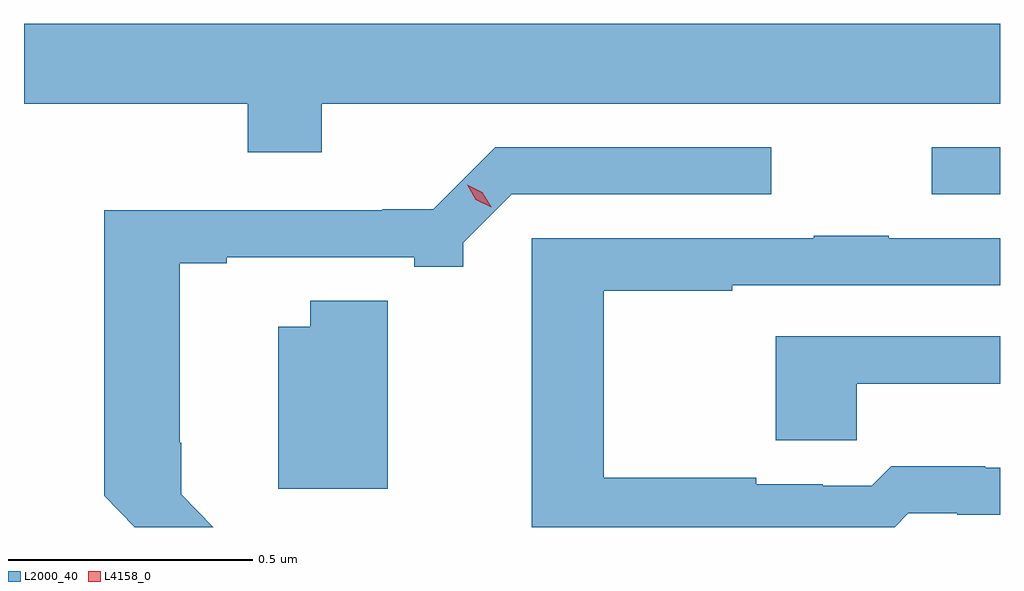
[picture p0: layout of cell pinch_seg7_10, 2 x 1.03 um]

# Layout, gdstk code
import gdstk
lib = gdstk.Library(unit=1e-6, precision=1e-09)
def R(c, l, rs):  # rectangles x0, y0, x1, y1
    for r in rs: c.add(gdstk.rectangle(r[:2], r[2:], *l))
def P(c, l, *ps):  # polygons
    for p in ps: c.add(gdstk.Polygon(p, *l))
L2000_40 = (2000, 40)
L4158_0 = (4158, 0)

pinch_seg7_10 = lib.new_cell('pinch_seg7_10')
R(pinch_seg7_10, L2000_40, [(1035.303,1069.695,1035.443,1069.791)])
P(pinch_seg7_10, L2000_40, [(1034.053,1069.88),(1035.443,1069.88),(1035.443,1070.044),(1033.443,1070.044),(1033.443,1069.88),(1033.901,1069.88),(1033.901,1069.781),(1034.053,1069.781)],
  [(1033.765,1069.08),(1033.765,1069.186),(1033.762,1069.186),(1033.762,1069.554),(1033.858,1069.554),(1033.858,1069.566),(1034.243,1069.566),(1034.243,1069.546),(1034.343,1069.546),(1034.343,1069.596),(1034.442,1069.695),(1034.974,1069.695),(1034.974,1069.791),(1034.409,1069.791),(1034.282,1069.664),(1034.177,1069.664),(1034.177,1069.662),(1033.607,1069.662),(1033.607,1069.077),(1033.67,1069.013),(1033.831,1069.013)],
  [(1035.255,1069.041),(1035.355,1069.041),(1035.355,1069.038),(1035.443,1069.038),(1035.443,1069.135),(1035.413,1069.135),(1035.413,1069.138),(1035.22,1069.138),(1035.18,1069.098),(1035.08,1069.098),(1035.08,1069.101),(1034.943,1069.101),(1034.943,1069.114),(1034.631,1069.114),(1034.631,1069.497),(1034.894,1069.497),(1034.894,1069.509),(1035.443,1069.509),(1035.443,1069.605),(1035.215,1069.605),(1035.215,1069.61),(1035.061,1069.61),(1035.061,1069.605),(1034.483,1069.605),(1034.483,1069.013),(1035.227,1069.013)],
  [(1034.188,1069.477),(1034.03,1069.477),(1034.03,1069.423),(1033.964,1069.423),(1033.964,1069.091),(1034.188,1069.091)],
  [(1035.149,1069.307),(1035.443,1069.307),(1035.443,1069.404),(1034.983,1069.404),(1034.983,1069.191),(1035.149,1069.191)])
P(pinch_seg7_10, L4158_0, [(1034.4,1069.668),(1034.369,1069.684),(1034.351,1069.714),(1034.351,1069.714),(1034.351,1069.714),(1034.382,1069.699),(1034.4,1069.669),(1034.4,1069.668)])

lib.write_gds('pinch_seg7_10.gds')
